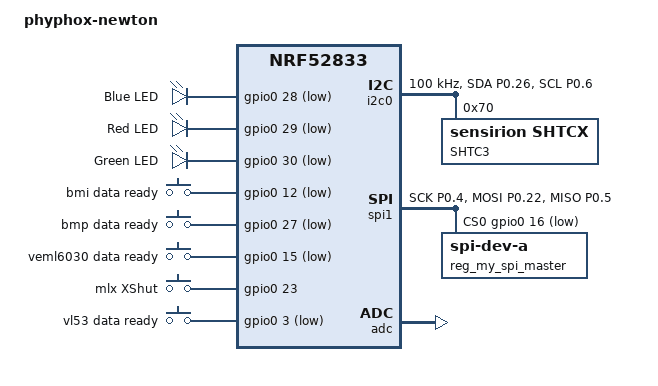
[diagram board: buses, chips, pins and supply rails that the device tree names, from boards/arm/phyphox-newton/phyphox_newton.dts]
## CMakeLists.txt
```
# SPDX-License-Identifier: Apache-2.0

cmake_minimum_required(VERSION 3.20.0)

find_package(Zephyr REQUIRED HINTS $ENV{ZEPHYR_BASE})
project(phyphox_newton)

target_sources(app PRIVATE src/ble.c)
target_sources(app PRIVATE src/i2c_zephyr.c)
target_sources(app PRIVATE src/platform.c)
target_sources(app PRIVATE src/VL53L4CD_api.c)
target_sources(app PRIVATE src/tof.c)
target_sources(app PRIVATE src/veml6030.c)
target_sources(app PRIVATE src/bas.c)
target_sources(app PRIVATE src/shtc3.c)
target_sources(app PRIVATE src/mlx90393.c)
target_sources(app PRIVATE src/mlxZephyr.c)
target_sources(app PRIVATE src/bmp5.c)
target_sources(app PRIVATE src/bmi3.c)
target_sources(app PRIVATE src/event.c)
target_sources(app PRIVATE src/bmi323.c)
target_sources(app PRIVATE src/bmiZephyr.c)
target_sources(app PRIVATE src/bmpZephyr.c)
target_sources(app PRIVATE src/main.c)
```

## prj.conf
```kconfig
CONFIG_PINCTRL=y
CONFIG_NEWLIB_LIBC=y #needed for bmp581 library

# --------------
# RTT Debugging
#
# COMMENT FOR LOW POWER
#---------------
#CONFIG_PRINTK=y
#CONFIG_USE_SEGGER_RTT=y
#CONFIG_RTT_CONSOLE=y
#CONFIG_UART_CONSOLE=n

#UNCOMMENT FOR LOW POWER (RTT debugging not working anymore)
CONFIG_PM=y
CONFIG_CONSOLE=n
CONFIG_SERIAL=n
CONFIG_LOG=n
CONFIG_STDOUT_CONSOLE=n
CONFIG_UART_CONSOLE=n
CONFIG_RTT_CONSOLE=n
CONFIG_USE_SEGGER_RTT=n
CONFIG_PRINTK=n
CONFIG_PM_DEVICE=y
CONFIG_FLASH=y
CONFIG_SPI=y
CONFIG_SPI_NOR_IDLE_IN_DPD=y
CONFIG_SOC_NRF52833_QIAA=y
CONFIG_SOC_SERIES_NRF52X=y

# DEBUGGING
#CONFIG_LOG=y
#CONFIG_LOG_BACKEND_RTT=y
#CONFIG_LOG_DEFAULT_LEVEL=4
#CONFIG_ASSERT=y

CONFIG_MAIN_STACK_SIZE=4096

#CONFIG_DEBUG=y
#CONFIG_THREAD_NAME=y
#CONFIG_DEBUG_OPTIMIZATIONS=y
#CONFIG_DEBUG_THREAD_INFO=y

# --------------
# Bluetooth
#---------------
CONFIG_BT=y
CONFIG_BT_PERIPHERAL=y
CONFIG_BT_SMP=y
CONFIG_BT_DEVICE_NAME="Newton N005"
CONFIG_BT_DEVICE_NAME_DYNAMIC=y
CONFIG_BT_DEVICE_NAME_MAX=70
CONFIG_BT_MAX_CONN=1
CONFIG_BT_LL_SW_SPLIT=y

#Device Information Service (DIS)
CONFIG_BT_DIS=y
CONFIG_BT_DIS_PNP=n
CONFIG_BT_DIS_MANUF="phyphox"
CONFIG_BT_DIS_MODEL="newton"

#Firmware Version
CONFIG_BT_DIS_FW_REV=y
CONFIG_BT_DIS_FW_REV_STR="1.0.0"

#Hardware Version
CONFIG_BT_DIS_HW_REV=y
CONFIG_BT_DIS_HW_REV_STR="1.0"

# Serial Number
CONFIG_BT_DIS_SERIAL_NUMBER=y
CONFIG_BT_DIS_SERIAL_NUMBER_STR="0000"
CONFIG_BT_BAS=y

# Sensor
CONFIG_SENSOR=y
CONFIG_I2C=y
CONFIG_SPI=y
#CONFIG_SPI_ASYNC=y
# low power
CONFIG_CLOCK_CONTROL_NRF_K32SRC_RC=y

# float debugging
CONFIG_CBPRINTF_FP_SUPPORT=y

#FOTA
# Enable mcumgr.
CONFIG_ZCBOR=y
CONFIG_MCUMGR=y

# Enable most core commands.
CONFIG_FLASH_MAP=y
CONFIG_STREAM_FLASH=y

CONFIG_IMG_MANAGER=y
CONFIG_MCUMGR_GRP_IMG=y
CONFIG_MCUMGR_GRP_OS=y

#FOTANEW

# Ensure an MCUboot-compatible binary is generated.
CONFIG_BOOTLOADER_MCUBOOT=y

# Allow for large Bluetooth data packets.
CONFIG_BT_L2CAP_TX_MTU=247
CONFIG_BT_L2CAP_TX_BUF_COUNT=20
CONFIG_BT_L2CAP_DYNAMIC_CHANNEL=y

CONFIG_BT_BUF_ACL_RX_SIZE=251

CONFIG_BT_BUF_ACL_TX_SIZE=251
CONFIG_BT_BUF_ACL_TX_COUNT=20

CONFIG_BT_CTLR_RX_BUFFERS=2

CONFIG_BT_CONN_TX_MAX=20

CONFIG_BT_USER_PHY_UPDATE=y
CONFIG_BT_CTLR_PHY_2M=y
CONFIG_BT_USER_DATA_LEN_UPDATE=y
CONFIG_BT_AUTO_DATA_LEN_UPDATE=y
CONFIG_BT_CTLR_DATA_LENGTH_MAX=251

CONFIG_BT_ATT_PREPARE_COUNT=2

# Enable the Bluetooth (unauthenticated) and shell mcumgr transports.
CONFIG_MCUMGR_TRANSPORT_BT=y
CONFIG_MCUMGR_TRANSPORT_BT_AUTHEN=n


# Some command handlers require a large stack.
#CONFIG_SYSTEM_WORKQUEUE_STACK_SIZE=4096
CONFIG_SYSTEM_WORKQUEUE_STACK_SIZE=8192

CONFIG_NEWLIB_LIBC_FLOAT_PRINTF=y
CONFIG_NEWLIB_LIBC_NANO=n

#SENSOR
CONFIG_SHTCX=y
#ADC
CONFIG_ADC=y
CONFIG_ADC_ASYNC=y
CONFIG_ADC_NRFX_SAADC=y
CONFIG_NRFX_SAADC=y

CONFIG_NEWLIB_LIBC=y

#reduce flash footprint
CONFIG_BT_CTLR_PRIVACY=n
CONFIG_BOOT_BANNER=n
CONFIG_SIZE_OPTIMIZATIONS=y

CONFIG_USB_DEVICE_STACK=y
```

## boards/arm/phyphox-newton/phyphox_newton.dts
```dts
/*
 * Copyright (c) 2017 Linaro Limited
 *
 * SPDX-License-Identifier: Apache-2.0
 */

 /dts-v1/;
 #include <nordic/nrf52833_qiaa.dtsi>
 
 / {
	 model = "phyphox-newton";
	 compatible = "phyphox,newton-n1";
	 aliases {
		i2c = &i2c0;
		spi= &spi1;
		led-blue = &led0;
		led-red = &led1;
		led-green = &led2;
		shtc-3 = &shtc3_node;
	 };
 
	 chosen {
		 zephyr,console = &uart0;
		 zephyr,shell-uart = &uart0;
		 zephyr,uart-mcumgr = &uart0;
		 zephyr,bt-mon-uart = &uart0;
		 zephyr,bt-c2h-uart = &uart0;
		 zephyr,sram = &sram0;
		 zephyr,flash = &flash0;
		 zephyr,code-partition = &slot0_partition;
	 };
 
	 leds {
		 compatible = "gpio-leds";
		 led0: led_0 {
			 gpios = <&gpio0 28 GPIO_ACTIVE_LOW>;
			 label = "Blue LED";
		 };
		 led1: led_1 {
			 gpios = <&gpio0 29 GPIO_ACTIVE_LOW>;
			 label = "Red LED";
		 };
		 led2: led_2 {
			gpios = <&gpio0 30 GPIO_ACTIVE_LOW>;
			label = "Green LED";
		};		 
	 };
	buttons {
		compatible = "gpio-keys";
		button0: button_0 { // INT1 P0.12 Gpio 15 ; INT2 P0.11 GPIO14
			gpios = <&gpio0 12 (GPIO_ACTIVE_LOW)>;
			label = "bmi data ready";
		};
		button1: button_1 { // gpio31 P0.27
			gpios = <&gpio0 27 (GPIO_ACTIVE_LOW)>;
			label = "bmp data ready";
		};
		button2: button_2 { // gpio40 P0.15
			gpios = <&gpio0 15 (GPIO_ACTIVE_LOW)>;
			label = "veml6030 data ready";
		};
		button3: button_3 { // gpio39 P0.23
			gpios = <&gpio0 23 (GPIO_ACTIVE_HIGH)>;
			label = "mlx XShut";
		};
		button4: button_4 { // gpio19 P0.03
			gpios = <&gpio0 3 (GPIO_ACTIVE_LOW)>;
			label = "vl53 data ready";
		};
	};
 };

 &pinctrl {
    i2c0_default: i2c0_default {
		group1 {
			psels = <NRF_PSEL(TWIM_SDA, 0, 26)>, <NRF_PSEL(TWIM_SCL, 0, 6)>;
		};
	};
    i2c0_sleep: i2c0_sleep {
		group1 {
			psels = <NRF_PSEL(TWIM_SDA, 0, 26)>, <NRF_PSEL(TWIM_SCL, 0, 6)>;
		};
	};
	spi_master_default: spi_master_default {
		group1 {
			psels = <NRF_PSEL(SPIM_SCK, 0, 4)>,
					<NRF_PSEL(SPIM_MOSI, 0, 22)>,
					<NRF_PSEL(SPIM_MISO, 0, 5)>;
		};
	};
	spi_master_sleep: spi_master_sleep {
		group1 {
			psels = <NRF_PSEL(SPIM_SCK, 0, 4)>,
					<NRF_PSEL(SPIM_MOSI, 0, 22)>,
					<NRF_PSEL(SPIM_MISO, 0, 5)>;
			low-power-enable;
		};
	};	
};

 i2c_0: &i2c0 {
    compatible = "nordic,nrf-twim";
    status = "okay";
    //sda-pin = < 26 >;
    //scl-pin = < 6 >;
	pinctrl-0 = <&i2c0_default>;
	pinctrl-1 = <&i2c0_sleep>;
	pinctrl-names = "default", "sleep";
    label = "i2c";
    clock-frequency = <I2C_BITRATE_STANDARD>;

	shtc3_node: shtcx@70 {
		compatible = "sensirion,shtcx";
		chip = "shtc3";
		measure-mode = "low-power";
		reg = <0x70>;
		label = "SHTC3";
	};
};

my_spi_master: &spi1 {
	compatible = "nordic,nrf-spim";
	status = "okay";
	pinctrl-0 = <&spi_master_default>;
	pinctrl-1 = <&spi_master_sleep>;
	pinctrl-names = "default", "sleep";
	cs-gpios = <&gpio0 16 GPIO_ACTIVE_LOW>;
	reg_my_spi_master: spi-dev-a@0 {
		reg = <0>;
	};
};
 
 &adc {
	 status = "okay";
 };
 
 &gpiote {
	 status = "okay";
 };
 
 &gpio0 {
	 status = "okay";
 };
 
 &gpio1 {
	 status = "okay";
 };
 
 &uart0 {
	 compatible = "nordic,nrf-uarte";
	 status = "disabled";
	 //current-speed = <115200>;
	 //tx-pin = <17>;
	 //rx-pin = <8>;
	 //rts-pin = <5>;
	 //cts-pin = <7>;
 };
 
 &flash0 {
 
	partitions {
		compatible = "fixed-partitions";
		#address-cells = <1>;
		#size-cells = <1>;

		boot_partition: partition@0 {
			label = "mcuboot";
			reg = <0x00000000 0xC000>;
		};
		slot0_partition: partition@c000 {
			label = "image-0";
			reg = <0x0000C000 0x37000>;
		};
		slot1_partition: partition@43000 {
			label = "image-1";
			reg = <0x00043000 0x37000>;
		};
		storage_partition: partition@7a000 {
			label = "storage";
			reg = <0x0007A000 0x00006000>;
		};
	};
 };
 
 &usbd {
	 compatible = "nordic,nrf-usbd";
	 status = "disabled";
 };
 
```

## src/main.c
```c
/*
 * Copyright (c) 2012-2014 Wind River Systems, Inc.
 *
 * SPDX-License-Identifier: Apache-2.0
 */

#include <zephyr/kernel.h>
#include <zephyr/sys/printk.h>
#include <stddef.h>
#include <zephyr/sys/util.h>
#include <zephyr/types.h>
#include "ble.h"
#include "bmpZephyr.h"
#include "bmiZephyr.h"
#include "veml6030.h"

//#include <zephyr/mgmt/mcumgr/transport/smp_bt.h>

#include <zephyr/drivers/gpio.h>
#include <zephyr/drivers/sensor.h>
#include <zephyr/usb/usb_device.h>

#include "tof.h"

#include <nrfx_twi.h>
#include "leds.h"



static bool usb_plugged_in = true;

static void status_cb(enum usb_dc_status_code status, const uint8_t *param)
{	
	if(status == USB_DC_CONNECTED){
		gpio_pin_set_dt(&ledB,1);
		usb_plugged_in = true;
	}else if (status == USB_DC_DISCONNECTED)
	{
		gpio_pin_set_dt(&ledB,0);
		gpio_pin_set_dt(&ledG,0);
		usb_plugged_in = false;
	}
}

void main(void)
{
	printf("------------------\r\n");
	uint8_t error;
	
	usb_enable(status_cb);
	
	init_ble();
	error = i2c_configure(device_get_binding("i2c"),I2C_SPEED_SET(I2C_SPEED_FAST));

	k_sleep(K_MSEC(150));

	//init sensors
	init_bmp();
	init_bmi();
	init_shtc();
	init_tof();
	init_veml();
	init_mlx();
	init_BAS(&usb_plugged_in);
	
	// LED

	gpio_pin_configure_dt(&ledB, GPIO_OUTPUT_ACTIVE);
	gpio_pin_configure_dt(&ledR, GPIO_OUTPUT_INACTIVE);
	gpio_pin_configure_dt(&ledG, GPIO_OUTPUT_INACTIVE);	
}
```

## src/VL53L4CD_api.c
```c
/*
 Copyright (c) 2021, STMicroelectronics - All Rights Reserved

 This file : part of VL53L4CD Ultra Lite Driver and : dual licensed, either
 'STMicroelectronics Proprietary license'
 or 'BSD 3-clause "New" or "Revised" License' , at your option.

*******************************************************************************

 'STMicroelectronics Proprietary license'

*******************************************************************************

 License terms: STMicroelectronics Proprietary in accordance with licensing
 terms at www.st.com/sla0081

 STMicroelectronics confidential
 Reproduction and Communication of this document : strictly prohibited unless
 specifically authorized in writing by STMicroelectronics.


*******************************************************************************

 Alternatively, VL53L4CD Ultra Lite Driver may be distributed under the terms of
 'BSD 3-clause "New" or "Revised" License', in which case the following
 provisions apply instead of the ones mentioned above :

*******************************************************************************

 License terms: BSD 3-clause "New" or "Revised" License.

 Redistribution and use in source and binary forms, with or without
 modification, are permitted provided that the following conditions are met:

 1. Redistributions of source code must retain the above copyright notice, this
 list of conditions and the following disclaimer.

 2. Redistributions in binary form must reproduce the above copyright notice,
 this list of conditions and the following disclaimer in the documentation
 and/or other materials provided with the distribution.

 3. Neither the name of the copyright holder nor the names of its contributors
 may be used to endorse or promote products derived from this software
 without specific prior written permission.

 THIS SOFTWARE IS PROVIDED BY THE COPYRIGHT HOLDERS AND CONTRIBUTORS "AS IS"
 AND ANY EXPRESS OR IMPLIED WARRANTIES, INCLUDING, BUT NOT LIMITED TO, THE
 IMPLIED WARRANTIES OF MERCHANTABILITY AND FITNESS FOR A PARTICULAR PURPOSE ARE
 DISCLAIMED. IN NO EVENT SHALL THE COPYRIGHT HOLDER OR CONTRIBUTORS BE LIABLE
 FOR ANY DIRECT, INDIRECT, INCIDENTAL, SPECIAL, EXEMPLARY, OR CONSEQUENTIAL
 DAMAGES (INCLUDING, BUT NOT LIMITED TO, PROCUREMENT OF SUBSTITUTE GOODS OR
 SERVICES; LOSS OF USE, DATA, OR PROFITS; OR BUSINESS INTERRUPTION) HOWEVER
 CAUSED AND ON ANY THEORY OF LIABILITY, WHETHER IN CONTRACT, STRICT LIABILITY,
 OR TORT (INCLUDING NEGLIGENCE OR OTHERWISE) ARISING IN ANY WAY OUT OF THE USE
 OF THIS SOFTWARE, EVEN IF ADVISED OF THE POSSIBILITY OF SUCH DAMAGE.
*******************************************************************************
*/

/**
 * @file  vl53l4cd_api.c
 * @brief Functions implementation
 */

#include <string.h>
#include <math.h>
#include "VL53L4CD_api.h"

static const uint8_t VL53L4CD_DEFAULT_CONFIGURATION[] = {
	#ifdef VL53L4CD_I2C_FAST_MODE_PLUS
	0x12, /* 0x2d : set bit 2 and 5 to 1 for fast plus mode (1MHz I2C),
	 else don't touch */
	#else
	0x00, /* 0x2d : set bit 2 and 5 to 1 for fast plus mode (1MHz I2C),
	 else don't touch */
	#endif
	0x01, /* 0x2e : bit 0 if I2C pulled up at 1.8V, else set bit 0 to 1 (pull up at AVDD) */
	0x01, /* 0x2f : bit 0 if GPIO pulled up at 1.8V, else set bit 0 to 1(pull up at AVDD) */
	0x11, /* 0x30 : set bit 4 to 0 for active high interrupt and 1 for active low (bits 3:0 must be 0x1), use SetInterruptPolarity() */
	0x02, /* 0x31 : bit 1 = interrupt depending on the polarity,use CheckForDataReady() */
	0x00, /* 0x32 : not user-modifiable */
	0x02, /* 0x33 : not user-modifiable */
	0x08, /* 0x34 : not user-modifiable */
	0x00, /* 0x35 : not user-modifiable */
	0x08, /* 0x36 : not user-modifiable */
	0x10, /* 0x37 : not user-modifiable */
	0x01, /* 0x38 : not user-modifiable */
	0x01, /* 0x39 : not user-modifiable */
	0x00, /* 0x3a : not user-modifiable */
	0x00, /* 0x3b : not user-modifiable */
	0x00, /* 0x3c : not user-modifiable */
	0x00, /* 0x3d : not user-modifiable */
	0xff, /* 0x3e : not user-modifiable */
	0x00, /* 0x3f : not user-modifiable */
	0x0F, /* 0x40 : not user-modifiable */
	0x00, /* 0x41 : not user-modifiable */
	0x00, /* 0x42 : not user-modifiable */
	0x00, /* 0x43 : not user-modifiable */
	0x00, /* 0x44 : not user-modifiable */
	0x00, /* 0x45 : not user-modifiable */
	0x20, /* 0x46 : interrupt configuration 0->level low detection, 1-> level high,2-> Out of window, 3->In window, 0x20-> New sample ready , TBC */
	0x0b, /* 0x47 : not user-modifiable */
	0x00, /* 0x48 : not user-modifiable */
	0x00, /* 0x49 : not user-modifiable */
	0x02, /* 0x4a : not user-modifiable */
	0x14, /* 0x4b : not user-modifiable */
	0x21, /* 0x4c : not user-modifiable */
	0x00, /* 0x4d : not user-modifiable */
	0x00, /* 0x4e : not user-modifiable */
	0x05, /* 0x4f : not user-modifiable */
	0x00, /* 0x50 : not user-modifiable */
	0x00, /* 0x51 : not user-modifiable */
	0x00, /* 0x52 : not user-modifiable */
	0x00, /* 0x53 : not user-modifiable */
	0xc8, /* 0x54 : not user-modifiable */
	0x00, /* 0x55 : not user-modifiable */
	0x00, /* 0x56 : not user-modifiable */
	0x38, /* 0x57 : not user-modifiable */
	0xff, /* 0x58 : not user-modifiable */
	0x01, /* 0x59 : not user-modifiable */
	0x00, /* 0x5a : not user-modifiable */
	0x08, /* 0x5b : not user-modifiable */
	0x00, /* 0x5c : not user-modifiable */
	0x00, /* 0x5d : not user-modifiable */
	0x01, /* 0x5e : not user-modifiable */
	0xcc, /* 0x5f : not user-modifiable */
	0x07, /* 0x60 : not user-modifiable */
	0x01, /* 0x61 : not user-modifiable */
	0xf1, /* 0x62 : not user-modifiable */
	0x05, /* 0x63 : not user-modifiable */
	0x00, /* 0x64 : Sigma threshold MSB (mm in 14.2 format for MSB+LSB),use SetSigmaThreshold(), default value 90 mm  */
	0xa0, /* 0x65 : Sigma threshold LSB */
	0x00, /* 0x66 : Min count Rate MSB (MCPS in 9.7 format for MSB+LSB), use SetSignalThreshold() */
	0x80, /* 0x67 : Min count Rate LSB */
	0x08, /* 0x68 : not user-modifiable */
	0x38, /* 0x69 : not user-modifiable */
	0x00, /* 0x6a : not user-modifiable */
	0x00, /* 0x6b : not user-modifiable */
	0x00, /* 0x6c : Intermeasurement period MSB, 32 bits register,use SetIntermeasurementInMs() */
	0x00, /* 0x6d : Intermeasurement period */
	0x0f, /* 0x6e : Intermeasurement period */
	0x89, /* 0x6f : Intermeasurement period LSB */
	0x00, /* 0x70 : not user-modifiable */
	0x00, /* 0x71 : not user-modifiable */
	0x00, /* 0x72 : distance threshold high MSB (in mm, MSB+LSB),use SetD:tanceThreshold() */
	0x00, /* 0x73 : distance threshold high LSB */
	0x00, /* 0x74 : distance threshold low MSB ( in mm, MSB+LSB),
use SetD:tanceThreshold() */
	0x00, /* 0x75 : distance threshold low LSB */
	0x00, /* 0x76 : not user-modifiable */
	0x01, /* 0x77 : not user-modifiable */
	0x07, /* 0x78 : not user-modifiable */
	0x05, /* 0x79 : not user-modifiable */
	0x06, /* 0x7a : not user-modifiable */
	0x06, /* 0x7b : not user-modifiable */
	0x00, /* 0x7c : not user-modifiable */
	0x00, /* 0x7d : not user-modifiable */
	0x02, /* 0x7e : not user-modifiable */
	0xc7, /* 0x7f : not user-modifiable */
	0xff, /* 0x80 : not user-modifiable */
	0x9B, /* 0x81 : not user-modifiable */
	0x00, /* 0x82 : not user-modifiable */
	0x00, /* 0x83 : not user-modifiable */
	0x00, /* 0x84 : not user-modifiable */
	0x01, /* 0x85 : not user-modifiable */
	0x00, /* 0x86 : clear interrupt, use ClearInterrupt() */
	0x00  /* 0x87 : start ranging, use StartRanging() or StopRanging(),
	 If you want an automatic start after VL53L4CD_init() call,
	  put 0x40 in location 0x87 */
};

VL53L4CD_Error VL53L4CD_GetSWVersion(
		VL53L4CD_Version_t *p_Version)
{
	VL53L4CD_Error Status = VL53L4CD_ERROR_NONE;

	p_Version->major = VL53L4CD_IMPLEMENTATION_VER_MAJOR;
	p_Version->minor = VL53L4CD_IMPLEMENTATION_VER_MINOR;
	p_Version->build = VL53L4CD_IMPLEMENTATION_VER_BUILD;
	p_Version->revision = VL53L4CD_IMPLEMENTATION_VER_REVISION;
	return Status;
}

VL53L4CD_Error VL53L4CD_SetI2CAddress(
		Dev_t dev,
		uint8_t new_address)
{
	VL53L4CD_Error status = VL53L4CD_ERROR_NONE;

	status |= VL53L4CD_WrByte(dev, VL53L4CD_I2C_SLAVE__DEVICE_ADDRESS,
			(uint8_t)(new_address >> (uint8_t)1));
	return status;
}

VL53L4CD_Error VL53L4CD_GetSensorId(
		Dev_t dev,
		uint16_t *p_id)
{
	VL53L4CD_Error status = VL53L4CD_ERROR_NONE;

	status |= VL53L4CD_RdWord(dev, VL53L4CD_IDENTIFICATION__MODEL_ID, p_id);
	return status;
}

VL53L4CD_Error VL53L4CD_SensorInit(
		Dev_t dev)
{
	VL53L4CD_Error status = VL53L4CD_ERROR_NONE;
	uint8_t Addr, tmp;
	uint8_t continue_loop = 1;
	uint16_t i = 0;

	do{
		status |= VL53L4CD_RdByte(dev,
				VL53L4CD_FIRMWARE__SYSTEM_STATUS, &tmp);

		if(tmp == (uint8_t)0x3) /* Sensor booted */
		{
			continue_loop = (uint8_t)0;
		}
		else if(i < (uint16_t)1000)       /* Wait for boot */
		{
			i++;
		}
		else /* Timeout 1000ms reached */
		{
			continue_loop = (uint8_t)0;
			status |= (uint8_t)VL53L4CD_ERROR_TIMEOUT;
		}
		WaitMs(dev, 1);
	}while(continue_loop == (uint8_t)1);
	
	/* Load default configuration */
	for (Addr = (uint8_t)0x2D; Addr <= (uint8_t)0x87; Addr++)
	{
		status |= VL53L4CD_WrByte(dev, Addr,
				VL53L4CD_DEFAULT_CONFIGURATION[
                                  Addr - (uint8_t)0x2D]);
	}
	/* Start VHV */
	status |= VL53L4CD_WrByte(dev, VL53L4CD_SYSTEM_START, (uint8_t)0x40);
	i  = (uint8_t)0;
	continue_loop = (uint8_t)1;
	do{
		status |= VL53L4CD_CheckForDataReady(dev, &tmp);
		if(tmp == (uint8_t)1) /* Data ready */
		{
			continue_loop = (uint8_t)0;
		}
		else if(i < (uint16_t)1000)       /* Wait for answer */
		{
			i++;
		}
		else /* Timeout 1000ms reached */
		{
			continue_loop = (uint8_t)0;
			status |= (uint8_t)VL53L4CD_ERROR_TIMEOUT;
			printf("status 269: %i\n\r",status);
		}
		WaitMs(dev, 1);
	}while(continue_loop == (uint8_t)1);

	status |= VL53L4CD_ClearInterrupt(dev);
	printf("status 275: %i\n\r",status);
	status |= VL53L4CD_StopRanging(dev);
	printf("status 277: %i\n\r",status);
	status |= VL53L4CD_WrByte(dev,
			VL53L4CD_VHV_CONFIG__TIMEOUT_MACROP_LOOP_BOUND, 
                        (uint8_t)0x09);
	printf("status 281: %i\n\r",status);
	status |= VL53L4CD_WrByte(dev, 0x0B, (uint8_t)0);
	status |= VL53L4CD_WrWord(dev, 0x0024, 0x500);

	status |= VL53L4CD_SetRangeTiming(dev, 50, 0);

	return status;
}

VL53L4CD_Error VL53L4CD_ClearInterrupt(
		Dev_t dev)
{
	VL53L4CD_Error status = VL53L4CD_ERROR_NONE;

	status |= VL53L4CD_WrByte(dev, VL53L4CD_SYSTEM__INTERRUPT_CLEAR, 0x01);
	return status;
}

VL53L4CD_Error VL53L4CD_StartRanging(
		Dev_t dev)
{
	VL53L4CD_Error status = VL53L4CD_ERROR_NONE;
	uint32_t tmp;

	status |= VL53L4CD_RdDWord(dev, VL53L4CD_INTERMEASUREMENT_MS, &tmp);

	/* Sensor runs in continuous mode */
	if(tmp == (uint32_t)0)
	{
		status |= VL53L4CD_WrByte(dev, VL53L4CD_SYSTEM_START, 0x21);
	}
	/* Sensor runs in autonomous mode */
	else
	{
		status |= VL53L4CD_WrByte(dev, VL53L4CD_SYSTEM_START, 0x40);
	}

	return status;
}

VL53L4CD_Error VL53L4CD_StopRanging(
		Dev_t dev)
{
	VL53L4CD_Error status = VL53L4CD_ERROR_NONE;

	status |= VL53L4CD_WrByte(dev, VL53L4CD_SYSTEM_START, 0x00);
	return status;
}

VL53L4CD_Error VL53L4CD_CheckForDataReady(
		Dev_t dev,
		uint8_t *p_is_data_ready)
{
	VL53L4CD_Error status = VL53L4CD_ERROR_NONE;
	uint8_t temp;
	uint8_t int_pol;

	status |= VL53L4CD_RdByte(dev, VL53L4CD_GPIO_HV_MUX__CTRL, &temp);
	temp = temp & (uint8_t)0x10;
	temp = temp >> 4;

	if (temp == (uint8_t)1)
	{
		int_pol = (uint8_t)0;
	}
	else
	{
		int_pol = (uint8_t)1;
	}

	status |= VL53L4CD_RdByte(dev, VL53L4CD_GPIO__TIO_HV_STATUS, &temp);

	if ((temp & (uint8_t)1) == int_pol)
	{
		*p_is_data_ready = (uint8_t)1;
	}
	else
	{
		*p_is_data_ready = (uint8_t)0;
	}

	return status;
}

VL53L4CD_Error VL53L4CD_SetRangeTiming(
		Dev_t dev,
		uint32_t timing_budget_ms,
		uint32_t inter_measurement_ms)
{
	VL53L4CD_Error status = VL53L4CD_ERROR_NONE;
	uint16_t clock_pll, osc_frequency, ms_byte;
	uint32_t macro_period_us = 0, timing_budget_us = 0, ls_byte, tmp;
	float_t inter_measurement_factor = (float_t)1.055;

	status |= VL53L4CD_RdWord(dev, 0x0006, &osc_frequency);
	if(osc_frequency != (uint16_t)0)
	{
		timing_budget_us = timing_budget_ms*(uint32_t)1000;
		macro_period_us = (uint32_t)((uint32_t)2304 *
		((uint32_t)0x40000000 / (uint32_t)osc_frequency)) >> 6;
	}
	else
	{
		status |= (uint8_t)VL53L4CD_ERROR_INVALID_ARGUMENT;
	}

	/* Timing budget check validity */
	if ((timing_budget_ms < (uint32_t)10) 
			|| (timing_budget_ms > (uint32_t)200) || (status != (uint8_t)0))
	{
		status |= VL53L4CD_ERROR_INVALID_ARGUMENT;
	}
	/* Sensor runs in continuous mode */
	else if(inter_measurement_ms == (uint32_t)0)
	{
		status |= VL53L4CD_WrDWord(dev,VL53L4CD_INTERMEASUREMENT_MS, 0);
		timing_budget_us -= (uint32_t)2500;
	}
	/* Sensor runs in autonomous low power mode */
	else if(inter_measurement_ms > timing_budget_ms)
	{
		status |= VL53L4CD_RdWord(dev,
				VL53L4CD_RESULT__OSC_CALIBRATE_VAL, &clock_pll);
		clock_pll = clock_pll & (uint16_t)0x3FF;
				inter_measurement_factor = inter_measurement_factor
				  * (float_t)inter_measurement_ms
				  * (float_t)clock_pll;
		status |= VL53L4CD_WrDWord(dev, VL53L4CD_INTERMEASUREMENT_MS,
				(uint32_t)inter_measurement_factor);

		timing_budget_us -= (uint32_t)4300;
		timing_budget_us /= (uint32_t)2;

	}
	/* Invalid case */
	else
	{
		status |= (uint8_t)VL53L4CD_ERROR_INVALID_ARGUMENT;
	}

	if(status != (uint8_t)VL53L4CD_ERROR_INVALID_ARGUMENT)
	{
				ms_byte = 0;
				timing_budget_us = timing_budget_us << 12;
				tmp = macro_period_us*(uint32_t)16;
				ls_byte = ((timing_budget_us + ((tmp >> 6)>>1)) /(tmp>> 6))
				  - (uint32_t)1;

				while ((ls_byte & 0xFFFFFF00U) > 0U) {
						 ls_byte = ls_byte >> 1;
						 ms_byte++;
				}
				ms_byte = (uint16_t)(ms_byte << 8)
			+ (uint16_t) (ls_byte & (uint32_t)0xFF);
				status |= VL53L4CD_WrWord(dev, VL53L4CD_RANGE_CONFIG_A,ms_byte);

				ms_byte = 0;
				tmp = macro_period_us*(uint32_t)12;
				ls_byte = ((timing_budget_us + ((tmp >> 6)>>1)) /(tmp>> 6))
				  - (uint32_t)1;

				while ((ls_byte & 0xFFFFFF00U) > 0U) {
						 ls_byte = ls_byte >> 1;
						 ms_byte++;
				}
				ms_byte = (uint16_t)(ms_byte << 8)
			+ (uint16_t) (ls_byte & (uint32_t)0xFF);
				status |= VL53L4CD_WrWord(dev, VL53L4CD_RANGE_CONFIG_B,ms_byte);
	}

	return status;
}

VL53L4CD_Error VL53L4CD_GetRangeTiming(
		Dev_t dev,
		uint32_t *p_timing_budget_ms,
		uint32_t *p_inter_measurement_ms)
{
	VL53L4CD_Error status = VL53L4CD_ERROR_NONE;
	uint16_t osc_frequency = 1, range_config_macrop_high, clock_pll = 1;
	uint32_t tmp, ls_byte, ms_byte, macro_period_us;
	float_t clock_pll_factor = (float_t)1.065;

	/* Get InterMeasurement */
	status |= VL53L4CD_RdDWord(dev, VL53L4CD_INTERMEASUREMENT_MS, &tmp);
	status |= VL53L4CD_RdWord(dev,
			VL53L4CD_RESULT__OSC_CALIBRATE_VAL, &clock_pll);
	clock_pll = clock_pll & (uint16_t)0x3FF;
	clock_pll_factor = clock_pll_factor * (float_t)clock_pll;
	clock_pll = (uint16_t)clock_pll_factor;
	*p_inter_measurement_ms = (uint16_t)(tmp/(uint32_t)clock_pll);

	/* Get TimingBudget */
	status |= VL53L4CD_RdWord(dev, 0x0006, &osc_frequency);
	status |= VL53L4CD_RdWord(dev, VL53L4CD_RANGE_CONFIG_A,
		&range_config_macrop_high);

	macro_period_us = (uint32_t)((uint32_t)2304 * ((uint32_t)0x40000000
			/ (uint32_t)osc_frequency)) >> 6;
	ls_byte = (range_config_macrop_high & (uint32_t)0x00FF) << 4;
	ms_byte = (range_config_macrop_high & (uint32_t)0xFF00) >> 8;
	ms_byte = (uint32_t)0x04 - (ms_byte - (uint32_t)1) - (uint32_t)1;

	macro_period_us = macro_period_us * (uint32_t)16;
	*p_timing_budget_ms = (((ls_byte + (uint32_t)1)*(macro_period_us>> 6))
		 - ((macro_period_us>> 6)>>1)) >> 12;

	if(ms_byte < (uint8_t)12)
	{
		  *p_timing_budget_ms = (uint32_t)(*p_timing_budget_ms
				   >> (uint8_t)ms_byte);
	}
	 
	 /* Mode continuous */
	 if(tmp == (uint32_t)0)
	 {
		*p_timing_budget_ms += (uint32_t)2500;
	 }
	 /* Mode autonomous */
	 else
	 {
	      *p_timing_budget_ms *= (uint32_t)2;
	      *p_timing_budget_ms += (uint32_t)4300;
	 }

	 *p_timing_budget_ms = *p_timing_budget_ms/(uint32_t)1000;

	return status;
}

VL53L4CD_Error VL53L4CD_GetResult(
		Dev_t dev,
		VL53L4CD_ResultsData_t *p_result)
{
	VL53L4CD_Error status = VL53L4CD_ERROR_NONE;
	uint16_t temp_16;
	uint8_t temp_8;
	uint8_t status_rtn[24] = { 255, 255, 255, 5, 2, 4, 1, 7, 3,
			0, 255, 255, 9, 13, 255, 255, 255, 255, 10, 6,
			255, 255, 11, 12 };

	status |= VL53L4CD_RdByte(dev, VL53L4CD_RESULT__RANGE_STATUS,
		&temp_8);
	temp_8 = temp_8 & (uint8_t)0x1F;
	if (temp_8 < (uint8_t)24)
	{
		temp_8 = status_rtn[temp_8];
	}
	p_result->range_status = temp_8;

	status |= VL53L4CD_RdWord(dev, VL53L4CD_RESULT__SPAD_NB,
		&temp_16);
	p_result->number_of_spad = temp_16 / (uint16_t) 256;

	status |= VL53L4CD_RdWord(dev, VL53L4CD_RESULT__SIGNAL_RATE,
		&temp_16);
	p_result->signal_rate_kcps = temp_16 * (uint16_t) 8;

	status |= VL53L4CD_RdWord(dev, VL53L4CD_RESULT__AMBIENT_RATE,
		&temp_16);
	p_result->ambient_rate_kcps = temp_16 * (uint16_t) 8;

	status |= VL53L4CD_RdWord(dev, VL53L4CD_RESULT__SIGMA,
		&temp_16);
	p_result->sigma_mm = temp_16 / (uint16_t) 4;

	status |= VL53L4CD_RdWord(dev, VL53L4CD_RESULT__DISTANCE,
		&temp_16);
	p_result->distance_mm = temp_16;

	p_result->signal_per_spad_kcps = p_result->signal_rate_kcps
			/p_result->number_of_spad;
	p_result->ambient_per_spad_kcps = p_result->ambient_rate_kcps
			/p_result->number_of_spad;

	return status;
}

VL53L4CD_Error VL53L4CD_SetOffset(
		Dev_t dev,
		int16_t OffsetValueInMm)
{
	VL53L4CD_Error status = VL53L4CD_ERROR_NONE;
	uint16_t temp;

	temp = (uint16_t)((uint16_t)OffsetValueInMm*(uint16_t)4);

	status |= VL53L4CD_WrWord(dev, VL53L4CD_RANGE_OFFSET_MM, temp);
	status |= VL53L4CD_WrWord(dev, VL53L4CD_INNER_OFFSET_MM, (uint8_t)0x0);
	status |= VL53L4CD_WrWord(dev, VL53L4CD_OUTER_OFFSET_MM, (uint8_t)0x0);
	return status;
}

VL53L4CD_Error  VL53L4CD_GetOffset(
		Dev_t dev,
		int16_t *p_offset)
{
	VL53L4CD_Error status = VL53L4CD_ERROR_NONE;
	uint16_t temp;

	status |= VL53L4CD_RdWord(dev,VL53L4CD_RANGE_OFFSET_MM, &temp);

	temp = temp<<3;
	temp = temp>>5;
	*p_offset = (int16_t)(temp);

	if(*p_offset > 1024)
	{
		*p_offset = *p_offset - 2048;
	}

	return status;
}

VL53L4CD_Error VL53L4CD_SetXtalk(
		Dev_t dev,
		uint16_t XtalkValueKcps)
{
	VL53L4CD_Error status = VL53L4CD_ERROR_NONE;

	status |= VL53L4CD_WrWord(dev,
		VL53L4CD_XTALK_X_PLANE_GRADIENT_KCPS, 0x0000);
	status |= VL53L4CD_WrWord(dev,
		VL53L4CD_XTALK_Y_PLANE_GRADIENT_KCPS, 0x0000);
	status |= VL53L4CD_WrWord(dev,
		VL53L4CD_XTALK_PLANE_OFFSET_KCPS,
		(XtalkValueKcps<<9));
        
	return status;
}

VL53L4CD_Error VL53L4CD_GetXtalk(
		Dev_t dev,
		uint16_t *p_xtalk_kcps)
{
	VL53L4CD_Error status = VL53L4CD_ERROR_NONE;
	float_t tmp_xtalk;

	status |= VL53L4CD_RdWord(dev,
		VL53L4CD_XTALK_PLANE_OFFSET_KCPS, p_xtalk_kcps);
		
	tmp_xtalk = (float_t)*p_xtalk_kcps / (float_t)512.0;
	*p_xtalk_kcps = (uint16_t)(round(tmp_xtalk));

	return status;
}

VL53L4CD_Error VL53L4CD_SetDetectionThresholds(
		Dev_t dev,
		uint16_t distance_low_mm,
		uint16_t distance_high_mm,
		uint8_t window)
{
	VL53L4CD_Error status = VL53L4CD_ERROR_NONE;

	status |= VL53L4CD_WrByte(dev, VL53L4CD_SYSTEM__INTERRUPT, window);
	status |= VL53L4CD_WrWord(dev, VL53L4CD_THRESH_HIGH, distance_high_mm);
	status |= VL53L4CD_WrWord(dev, VL53L4CD_THRESH_LOW, distance_low_mm);
	return status;
}

VL53L4CD_Error VL53L4CD_GetDetectionThresholds(Dev_t dev,
		uint16_t *p_distance_low_mm,
		uint16_t *p_distance_high_mm,
		uint8_t *p_window)
{
	VL53L4CD_Error status = VL53L4CD_ERROR_NONE;

	status |= VL53L4CD_RdWord(dev, VL53L4CD_THRESH_HIGH,p_distance_high_mm);
	status |= VL53L4CD_RdWord(dev, VL53L4CD_THRESH_LOW, p_distance_low_mm);
	status |= VL53L4CD_RdByte(dev, VL53L4CD_SYSTEM__INTERRUPT, p_window);
	*p_window = (*p_window & (uint8_t)0x7);

	return status;
}

VL53L4CD_Error VL53L4CD_SetSignalThreshold(
		Dev_t dev,
		uint16_t signal_kcps)
{
	VL53L4CD_Error status = VL53L4CD_ERROR_NONE;

	status |= VL53L4CD_WrWord(dev,
			VL53L4CD_MIN_COUNT_RATE_RTN_LIMIT_MCPS,signal_kcps>>3);
	return status;
}

VL53L4CD_Error VL53L4CD_GetSignalThreshold(
		Dev_t dev,
		uint16_t 	*p_signal_kcps)
{
	VL53L4CD_Error status = VL53L4CD_ERROR_NONE;
	uint16_t tmp = 0;

	status |= VL53L4CD_RdWord(dev,
			VL53L4CD_MIN_COUNT_RATE_RTN_LIMIT_MCPS, &tmp);
	*p_signal_kcps = tmp <<3;

	return status;
}

VL53L4CD_Error VL53L4CD_SetSigmaThreshold(
		Dev_t dev,
		uint16_t 	sigma_mm)
{
	VL53L4CD_Error status = VL53L4CD_ERROR_NONE;

	if(sigma_mm>(uint16_t)((uint16_t)0xFFFF>>2))
	{
		status |= (uint8_t)VL53L4CD_ERROR_INVALID_ARGUMENT;
	}
	else
	{
		status |= VL53L4CD_WrWord(dev,
			VL53L4CD_RANGE_CONFIG__SIGMA_THRESH, sigma_mm<<2);
	}

	return status;
}

VL53L4CD_Error VL53L4CD_GetSigmaThreshold(
		Dev_t dev,
		uint16_t 	*p_sigma_mm)
{
	VL53L4CD_Error status = VL53L4CD_ERROR_NONE;

	status += VL53L4CD_RdWord(dev,
			VL53L4CD_RANGE_CONFIG__SIGMA_THRESH, p_sigma_mm);
	*p_sigma_mm = *p_sigma_mm >> 2;

	return status;
}

VL53L4CD_Error VL53L4CD_StartTemperatureUpdate(
		Dev_t dev)
{
	VL53L4CD_Error status = VL53L4CD_ERROR_NONE;
	uint8_t tmp = 0, continue_loop = 1;
	uint16_t i = 0;

	status |= VL53L4CD_WrByte(dev,
		VL53L4CD_VHV_CONFIG__TIMEOUT_MACROP_LOOP_BOUND, (uint8_t)0x81);
	status |= VL53L4CD_WrByte(dev, 0x0B, (uint8_t)0x92);
	status |= VL53L4CD_WrByte(dev, VL53L4CD_SYSTEM_START, (uint8_t)0x40);

	do{
			status |= VL53L4CD_CheckForDataReady(dev, &tmp);
			if(tmp == (uint8_t)1) /* Data ready */
			{
					continue_loop = (uint8_t)0;
			}
			else if(i < (uint16_t)1000)       /* Wait for answer */
			{
					i++;
			}
			else /* Timeout 1000ms reached */
			{
					continue_loop = (uint8_t)0;
					status = (uint8_t)VL53L4CD_ERROR_TIMEOUT;
			}
			WaitMs(dev, 1);
	}while(continue_loop == (uint8_t)1);

	status |= VL53L4CD_ClearInterrupt(dev);
	status |= VL53L4CD_StopRanging(dev);

	status += VL53L4CD_WrByte(dev,
		VL53L4CD_VHV_CONFIG__TIMEOUT_MACROP_LOOP_BOUND, 0x09);
	status += VL53L4CD_WrByte(dev, 0x0B, 0);
	return status;
}
```

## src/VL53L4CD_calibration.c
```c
/*
 Copyright (c) 2021, STMicroelectronics - All Rights Reserved

 This file : part of VL53L4CD Ultra Lite Driver and : dual licensed, either
 'STMicroelectronics Proprietary license'
 or 'BSD 3-clause "New" or "Revised" License' , at your option.

*******************************************************************************

 'STMicroelectronics Proprietary license'

*******************************************************************************

 License terms: STMicroelectronics Proprietary in accordance with licensing
 terms at www.st.com/sla0081

 STMicroelectronics confidential
 Reproduction and Communication of this document : strictly prohibited unless
 specifically authorized in writing by STMicroelectronics.


*******************************************************************************

 Alternatively, VL53L4CD Ultra Lite Driver may be distributed under the terms of
 'BSD 3-clause "New" or "Revised" License', in which case the following
 provisions apply instead of the ones mentioned above :

*******************************************************************************

 License terms: BSD 3-clause "New" or "Revised" License.

 Redistribution and use in source and binary forms, with or without
 modification, are permitted provided that the following conditions are met:

 1. Redistributions of source code must retain the above copyright notice, this
 list of conditions and the following disclaimer.

 2. Redistributions in binary form must reproduce the above copyright notice,
 this list of conditions and the following disclaimer in the documentation
 and/or other materials provided with the distribution.

 3. Neither the name of the copyright holder nor the names of its contributors
 may be used to endorse or promote products derived from this software
 without specific prior written permission.

 THIS SOFTWARE IS PROVIDED BY THE COPYRIGHT HOLDERS AND CONTRIBUTORS "AS IS"
 AND ANY EXPRESS OR IMPLIED WARRANTIES, INCLUDING, BUT NOT LIMITED TO, THE
 IMPLIED WARRANTIES OF MERCHANTABILITY AND FITNESS FOR A PARTICULAR PURPOSE ARE
 DISCLAIMED. IN NO EVENT SHALL THE COPYRIGHT HOLDER OR CONTRIBUTORS BE LIABLE
 FOR ANY DIRECT, INDIRECT, INCIDENTAL, SPECIAL, EXEMPLARY, OR CONSEQUENTIAL
 DAMAGES (INCLUDING, BUT NOT LIMITED TO, PROCUREMENT OF SUBSTITUTE GOODS OR
 SERVICES; LOSS OF USE, DATA, OR PROFITS; OR BUSINESS INTERRUPTION) HOWEVER
 CAUSED AND ON ANY THEORY OF LIABILITY, WHETHER IN CONTRACT, STRICT LIABILITY,
 OR TORT (INCLUDING NEGLIGENCE OR OTHERWISE) ARISING IN ANY WAY OUT OF THE USE
 OF THIS SOFTWARE, EVEN IF ADVISED OF THE POSSIBILITY OF SUCH DAMAGE.
*******************************************************************************
*/

/**
 * @file  vl53l4cd_calibration.c
 * @brief Calibration functions implementation
 */

#include <math.h>
#include "VL53L4CD_api.h"
#include "VL53L4CD_calibration.h"

VL53L4CD_Error VL53L4CD_CalibrateOffset(
		Dev_t dev,
		int16_t TargetDistInMm,
		int16_t *p_measured_offset_mm,
		int16_t nb_samples)
{
	VL53L4CD_Error status = VL53L4CD_ERROR_NONE;
	uint8_t i, tmp, continue_loop;
	uint16_t j, tmpOff;
	int16_t AvgDistance = 0;
	VL53L4CD_ResultsData_t results;

	if(((nb_samples < (int16_t)5) || (nb_samples > (int16_t)255))
			|| ((TargetDistInMm < (int16_t)10)
				|| (TargetDistInMm > (int16_t)1000)))
	{
		status |= (uint8_t)VL53L4CD_ERROR_INVALID_ARGUMENT;
	}
	else
	{
		status |= VL53L4CD_WrWord(dev, VL53L4CD_RANGE_OFFSET_MM, 0x0);
		status |= VL53L4CD_WrWord(dev, VL53L4CD_INNER_OFFSET_MM, 0x0);
		status |= VL53L4CD_WrWord(dev, VL53L4CD_OUTER_OFFSET_MM, 0x0);

		/* Device heat loop (10 samples) */
		status |= VL53L4CD_StartRanging(dev);
		for (i = 0; i < (uint8_t)10; i++) {
			tmp = (uint8_t)0;
			j = (uint16_t)0;
			continue_loop = (uint8_t)1;
			do{
				status |= VL53L4CD_CheckForDataReady(dev, &tmp);
				if(tmp == (uint8_t)1) /* Data ready */
				{
					continue_loop = (uint8_t)0;
				}
				else if(j < (uint16_t)5000) /* Wait for answer*/
				{
					j++;
				}
				else /* Timeout 5000ms reached */
				{
					continue_loop = (uint8_t)0;
					status |= (uint8_t)VL53L4CD_ERROR_TIMEOUT;
				}
				WaitMs(dev, 1);
			}while(continue_loop == (uint8_t)1);
			status |= VL53L4CD_GetResult(dev, &results);
			status |= VL53L4CD_ClearInterrupt(dev);
		}
		status |= VL53L4CD_StopRanging(dev);

		/* Device ranging */
		status |= VL53L4CD_StartRanging(dev);
		for (i = 0; i < (uint8_t)nb_samples; i++) {
			tmp = (uint8_t)0;
			j = (uint16_t)0;
			continue_loop = (uint8_t)1;
			do{
				status |= VL53L4CD_CheckForDataReady(dev, &tmp);
				if(tmp == (uint8_t)1) /* Data ready */
				{
					continue_loop = (uint8_t)0;
				}
				else if(j < (uint16_t)5000) /* Wait for answer*/
				{
					j++;
				}
				else /* Timeout 5000ms reached */
				{
 					continue_loop = (uint8_t)0;
					status |= (uint8_t)VL53L4CD_ERROR_TIMEOUT;
				}
				WaitMs(dev, 1);
			}while(continue_loop == (uint8_t)1);

			status |= VL53L4CD_GetResult(dev, &results);
			status |= VL53L4CD_ClearInterrupt(dev);
			AvgDistance += (int16_t)results.distance_mm;
		}

		status |= VL53L4CD_StopRanging(dev);
		AvgDistance = AvgDistance / nb_samples;
		*p_measured_offset_mm = (int16_t)TargetDistInMm - AvgDistance;
		tmpOff = (uint16_t) *p_measured_offset_mm * (uint16_t)4;
		status |= VL53L4CD_WrWord(dev, VL53L4CD_RANGE_OFFSET_MM, tmpOff);
	}

	return status;
}

VL53L4CD_Error VL53L4CD_CalibrateXtalk(
		Dev_t dev,
		int16_t TargetDistInMm,
		uint16_t *p_measured_xtalk_kcps,
		int16_t nb_samples)
{
	VL53L4CD_Error status = VL53L4CD_ERROR_NONE;
	uint8_t i, tmp, continue_loop;
	float_t AverageSignal = (float_t)0.0;
	float_t AvgDistance = (float_t)0.0;
	float_t AverageSpadNb = (float_t)0.0;
	float_t TargetDistance = (float_t)TargetDistInMm;
	float_t tmp_xtalk, CounterNbSamples = (float_t)0.0;
	VL53L4CD_ResultsData_t results;

	uint16_t calXtalk, j;

	*p_measured_xtalk_kcps = 0;
	if(((nb_samples < (int16_t)5) || (nb_samples > (int16_t)255))
			|| ((TargetDistInMm < (int16_t)10)
				|| (TargetDistInMm > (int16_t)5000)))
	{
		status |= (uint8_t)VL53L4CD_ERROR_INVALID_ARGUMENT;
	}
	else
	{
		/* Disable Xtalk compensation */
		status |= VL53L4CD_WrWord(dev,
			VL53L4CD_XTALK_PLANE_OFFSET_KCPS, *p_measured_xtalk_kcps);

		/* Device heat loop (10 samples) */
		status |= VL53L4CD_StartRanging(dev);
		for (i = 0; i < (uint8_t)10; i++) {
			tmp = (uint8_t)0;
			j = (uint16_t)0;
			continue_loop = (uint8_t)1;
			do{
				status |= VL53L4CD_CheckForDataReady(dev, &tmp);
				if(tmp == (uint8_t)1) /* Data ready */
				{
					continue_loop = (uint8_t)0;
				}
				else if(j < (uint16_t)5000) /* Wait for answer*/
				{
					j++;
				}
				else /* Timeout 5000ms reached */
				{
					continue_loop = (uint8_t)0;
					status |= (uint8_t)VL53L4CD_ERROR_TIMEOUT;
				}
				WaitMs(dev, 1);
			}while(continue_loop == (uint8_t)1);
			status |= VL53L4CD_GetResult(dev, &results);
			status |= VL53L4CD_ClearInterrupt(dev);
		}
		status |= VL53L4CD_StopRanging(dev);

		/* Device ranging loop */
		status |= VL53L4CD_StartRanging(dev);
		for (i = 0; i < (uint8_t)nb_samples; i++)
			{
			tmp = (uint8_t)0;
			j = (uint16_t)0;
			continue_loop = (uint8_t)1;
			do{
				status |= VL53L4CD_CheckForDataReady(dev, &tmp);
				if(tmp == (uint8_t)1) /* Data ready */
				{
					continue_loop = (uint8_t)0;
				}
				else if(j < (uint16_t)5000) /* Wait for answer*/
				{
					j++;
				}
				else /* Timeout 5000ms reached */
				{
 					continue_loop = (uint8_t)0;
					status |= (uint8_t)VL53L4CD_ERROR_TIMEOUT;
				}
				WaitMs(dev, 1);
			}while(continue_loop == (uint8_t)1);

			status |= VL53L4CD_GetResult(dev, &results);
			status |= VL53L4CD_ClearInterrupt(dev);

			/* Discard invalid measurements and first frame */
			if (results.range_status == (uint8_t)0
					&& i > (uint8_t)0)
			{
				AvgDistance += (float_t)results.distance_mm;
				AverageSpadNb += (float_t)results.number_of_spad;
				AverageSignal += (float_t)results.signal_rate_kcps;
				CounterNbSamples++;
			}
		}
		status |= VL53L4CD_StopRanging(dev);

		if (CounterNbSamples == 0)
		{
			status = VL53L4CD_ERROR_XTALK_FAILED;
		}
		else
		{
			AvgDistance /= CounterNbSamples;
			AverageSpadNb /= CounterNbSamples;
			AverageSignal /= CounterNbSamples;

			tmp_xtalk = (float_t)1.0 - (AvgDistance/TargetDistance);
			tmp_xtalk *= (AverageSignal/AverageSpadNb);

			/* 127kcps is the max Xtalk value (65536/512) */
			if(tmp_xtalk > (uint16_t)127)
			{
				status = VL53L4CD_ERROR_XTALK_FAILED;
			}
			else
			{
				*p_measured_xtalk_kcps = (uint16_t)(round(tmp_xtalk));

				/* Send data to firmware */
				calXtalk = (uint16_t)(tmp_xtalk * (float_t)512.0);
				status |= VL53L4CD_WrWord(dev,
					VL53L4CD_XTALK_PLANE_OFFSET_KCPS, calXtalk);
			}
		}
	}

	return status;
}
```

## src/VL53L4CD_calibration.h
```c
/*
 Copyright (c) 2021, STMicroelectronics - All Rights Reserved

 This file : part of VL53L4CD Ultra Lite Driver and : dual licensed, either
 'STMicroelectronics Proprietary license'
 or 'BSD 3-clause "New" or "Revised" License' , at your option.

*******************************************************************************

 'STMicroelectronics Proprietary license'

*******************************************************************************

 License terms: STMicroelectronics Proprietary in accordance with licensing
 terms at www.st.com/sla0081

 STMicroelectronics confidential
 Reproduction and Communication of this document : strictly prohibited unless
 specifically authorized in writing by STMicroelectronics.


*******************************************************************************

 Alternatively, VL53L4CD Ultra Lite Driver may be distributed under the terms of
 'BSD 3-clause "New" or "Revised" License', in which case the following
 provisions apply instead of the ones mentioned above :

*******************************************************************************

 License terms: BSD 3-clause "New" or "Revised" License.

 Redistribution and use in source and binary forms, with or without
 modification, are permitted provided that the following conditions are met:

 1. Redistributions of source code must retain the above copyright notice, this
 list of conditions and the following disclaimer.

 2. Redistributions in binary form must reproduce the above copyright notice,
 this list of conditions and the following disclaimer in the documentation
 and/or other materials provided with the distribution.

 3. Neither the name of the copyright holder nor the names of its contributors
 may be used to endorse or promote products derived from this software
 without specific prior written permission.

 THIS SOFTWARE IS PROVIDED BY THE COPYRIGHT HOLDERS AND CONTRIBUTORS "AS IS"
 AND ANY EXPRESS OR IMPLIED WARRANTIES, INCLUDING, BUT NOT LIMITED TO, THE
 IMPLIED WARRANTIES OF MERCHANTABILITY AND FITNESS FOR A PARTICULAR PURPOSE ARE
 DISCLAIMED. IN NO EVENT SHALL THE COPYRIGHT HOLDER OR CONTRIBUTORS BE LIABLE
 FOR ANY DIRECT, INDIRECT, INCIDENTAL, SPECIAL, EXEMPLARY, OR CONSEQUENTIAL
 DAMAGES (INCLUDING, BUT NOT LIMITED TO, PROCUREMENT OF SUBSTITUTE GOODS OR
 SERVICES; LOSS OF USE, DATA, OR PROFITS; OR BUSINESS INTERRUPTION) HOWEVER
 CAUSED AND ON ANY THEORY OF LIABILITY, WHETHER IN CONTRACT, STRICT LIABILITY,
 OR TORT (INCLUDING NEGLIGENCE OR OTHERWISE) ARISING IN ANY WAY OUT OF THE USE
 OF THIS SOFTWARE, EVEN IF ADVISED OF THE POSSIBILITY OF SUCH DAMAGE.
*******************************************************************************
*/

/**
 * @file  vl53l4cd_calibration.h
 * @brief Calibration Functions definition
 */

#ifndef VL53L4CD_CALIBRATION_H_
#define VL53L4CD_CALIBRATION_H_

#include "platform.h"

/**
 * @brief This function can be used to perform an offset calibration. Offset
 * corresponds to the difference in millimeters between real distance and
 * measured distance. ST recommend to perform offset at 100m, on a grey17%
 * reflective target, but any other distance and reflectance can be used.
 * The function returns the offset value found and programs the offset
 * compensation into the device.
 * @param (Dev_t) dev : instance of selected VL53L4CD sensor.
 * @param (int16_t) TargetDistInMm : Real distance between the sensor and the
 * target in millimeters. ST recommend 100mm. Min distance is 10mm and max is
 * 1000mm.
 * @param (int16_t) nb_samples : Number of samples (between 5 and 255). A higher
 * number of samples increases the accuracy, but it also takes more time. ST
 * recommend to use at least 10 samples.
 * @return (VL53L4CD_ERROR) status : 0 if OK, or 255 if something occurred (e.g
 * invalid nb of samples).
 */

VL53L4CD_Error VL53L4CD_CalibrateOffset(
		Dev_t dev,
		int16_t TargetDistInMm,
		int16_t *p_measured_offset_mm,
		int16_t nb_samples);


/**
 * @brief This function can be used to perform a Xtalk calibration. Xtalk
 * represents the correction to apply to the sensor when a protective coverglass
 * is placed at the top of the sensor. The distance for calibration depends of
 * the coverglass, it needs to be characterized. Please refer to the User Manual
 * for more information.
 * The function returns the Xtalk value found and programs the Xtalk
 * compensation into the device.
 * @param (Dev_t) dev : instance of selected VL53L4CD sensor.
 * @param uint16_t) TargetDistInMm : Real distance between the sensor and the
 * target in millimeters. This distance needs to be characterized, as described
 * into the User Manual.
 * @param (int16_t) nb_samples : Number of samples (between 5 and 255). A higher
 * number of samples increases the accuracy, but it also takes more time. ST
 * recommend to use at least 10 samples.
 * @return (VL53L4CD_ERROR) status : 0 if OK, or 255 if something occurred (e.g
 * invalid nb of samples).
 */
   
VL53L4CD_Error VL53L4CD_CalibrateXtalk(
		Dev_t dev,
		int16_t TargetDistInMm,
		uint16_t *p_measured_xtalk_kcps,
		int16_t nb_samples);

#endif //VL53L4CD_CALIBRATION_H_
```

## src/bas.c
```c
#include "bas.h"

static int16_t m_sample_buffer[BUFFER_SIZE];
static bool* usb_status = NULL;
float getVoltage(){

	int ret;
	const struct adc_sequence sequence = {
		.channels = BIT(ADC_1ST_CHANNEL_ID),
		.buffer = m_sample_buffer,
		.buffer_size = sizeof(m_sample_buffer),
		.resolution = ADC_RESOLUTION,
		.oversampling = 4,
	};

	if (!adc_dev) {
		return -1;
	}

	ret = adc_read(adc_dev, &sequence);
	if (ret) {
        printk("adc_read() failed with code %d\n", ret);
	}
	float val;
	for (int i = 0; i < BUFFER_SIZE; i++) {
                //printk("ADC raw value: %d\n", m_sample_buffer[i]);
				//3.6 is max voltage with internal_ref (0.6V) and 1/6 Gain.
                val = (float)m_sample_buffer[i]*3.6/pow(2,ADC_RESOLUTION);
	}
	battery_level(val);
	return val;
}

static const struct adc_channel_cfg m_1st_channel_cfg = {
	.gain = ADC_GAIN,
	.reference = ADC_REFERENCE,
	.acquisition_time = ADC_ACQUISITION_TIME,
	.channel_id = ADC_1ST_CHANNEL_ID,
#if defined(CONFIG_ADC_CONFIGURABLE_INPUTS)
	.input_positive = ADC_1ST_CHANNEL_INPUT,
#endif
};


extern void init_BAS(bool* usb_status_pointer){
	
	int err = 0;
	usb_status = usb_status_pointer;
	adc_dev = DEVICE_DT_GET(DT_NODELABEL(adc));
	if(adc_dev == NULL){
		printf("issue..\n");
	}
	
	err = adc_channel_setup(adc_dev, &m_1st_channel_cfg);
    if (err) {
	    printk("Error in adc setup: %d\n", err);
	}
	
	//init periodic updates
    
	k_work_init(&work_bas, update_supercap_level);
	k_timer_init(&timer_bas, time_to_update_battery_service,NULL);
	k_timer_start(&timer_bas,K_SECONDS(1),K_SECONDS(10));
    
};

void update_supercap_level(){
	set_supercap_level(battery_level(getVoltage()));
};

void time_to_update_battery_service(){
	k_work_submit(&work_bas);
}

uint8_t battery_level(float adc_voltage){
	int bat;
	float cap_voltage = adc_voltage;
	//boost-buck converter works between 0.6V to 5V
	//energy: 0.5*5F*voltage^2
	float max_energy = 0.5*5*(pow(2.9,2)-pow(0.65,2));
	float current_energy = 0.5*5*(pow(cap_voltage,2)-pow(0.65,2));
	bat = (uint8_t)current_energy*100/max_energy;
	printf("adc: %f cap: %f maxE: %f currentE: %f bat: %i\n",adc_voltage,cap_voltage,max_energy,current_energy, bat);
	if(*usb_status && bat>=95){
		gpio_pin_configure_dt(&ledB, GPIO_OUTPUT_INACTIVE);
		gpio_pin_configure_dt(&ledG, GPIO_OUTPUT_ACTIVE);
	}
	return bat;
};
```

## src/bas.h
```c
#ifndef _BAS_H /* Include guard */
#define _BAS_H

#include <zephyr/drivers/led.h>
#include <zephyr/device.h>
#include <zephyr/devicetree.h>
#include <zephyr/drivers/adc.h>
#include <hal/nrf_saadc.h>
#include <math.h>
#include "leds.h"

#define ADC_RESOLUTION 12
#define ADC_GAIN ADC_GAIN_1_6
#define ADC_REFERENCE ADC_REF_INTERNAL
#define ADC_ACQUISITION_TIME ADC_ACQ_TIME(ADC_ACQ_TIME_MICROSECONDS, 10)
#define BUFFER_SIZE 1
#define BAD_ANALOG_READ -123

#define ADC_1ST_CHANNEL_ID 7
#define ADC_1ST_CHANNEL_INPUT NRF_SAADC_INPUT_AIN7

// #define ADC_CHANNEL          DT_IO_CHANNELS_INPUT_BY_IDX(DT_PATH(zephyr_user), 0)
// #define ADC_NODE		     DT_PHANDLE(DT_PATH(zephyr_user), io_channels)
// #define ADC_NUM_CHANNELS	 DT_PROP_LEN(DT_PATH(zephyr_user), io_channels)

//#define NODE DT_INST(0, nordic_nrf_saadc)

#define ADC_DEVICE_NAME DT_PROP(DT_INST(0, nordic_nrf_saadc))


static struct k_timer timer_bas;
static struct k_work work_bas;

const static struct device *adc_dev;

static bool* usb_status;
extern void init_BAS();
void update_supercap_level();
float getVoltage();

uint8_t battery_level(float);
void time_to_update_battery_service();

#endif
```

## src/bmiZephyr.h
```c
#ifndef _BMIZEPHYR_H
#define _BMIZEPHYR_H

#include "bmi3.h"
#include "bmi323_defs.h"
#include "bmi323.h"
//#include <zephyr/drivers/i2c.h>
#include <zephyr/drivers/gpio.h>
#include "sensors.h"
#include <stdio.h>
#include <math.h>
#include <zephyr/drivers/spi.h>

#define BMI3_SENSOR_OK 0x00
#define BMI384_I2C_ADDR	0x68
#define BMI_INT DT_NODELABEL(button0)

#define BMI_X 0b00000001
#define BMI_Y 0b00000010
#define BMI_Z 0b00000100
#define BMI_ABS 0b00001000

const static struct device *bmi_dev = DEVICE_DT_GET(DT_ALIAS(spi));

extern int8_t init_bmi();
extern void submit_config_bmi();
extern uint8_t sleep_bmi(bool SLEEP);

static struct k_work work_bmi;
static struct k_work config_work_bmi;

static int8_t bmiResult;
static uint8_t dByte;

static struct device *spi_dev;


static struct bmi3_dev bmi3_dev;
//static struct bmi3_data bmi_data;
static struct bmi3_sens_config config[2] = {{ 0 }};
static struct bmi3_sensor_data sensor_data[2] = {{ 0 }};

static uint8_t*  bmi_en;
static uint8_t*  bmi_rate;
static uint8_t*  bmi_range_acc;
static uint8_t*  bmi_range_gyr;
static uint8_t*  bmi_average;
static uint8_t*  bmi_axis;
static uint8_t*  bmi_event_size;

#endif
```
